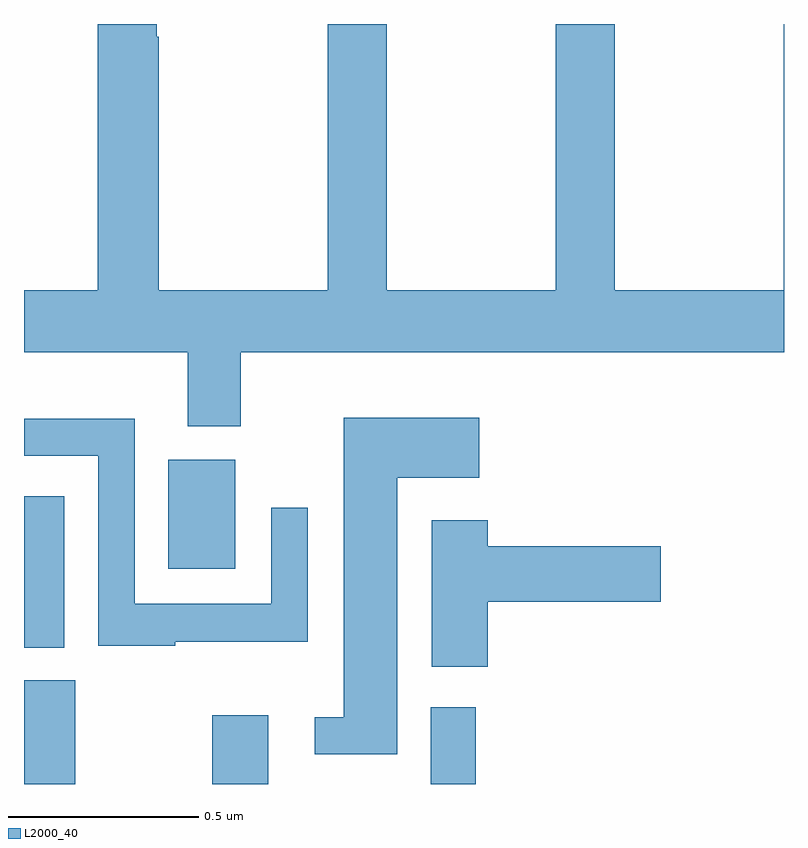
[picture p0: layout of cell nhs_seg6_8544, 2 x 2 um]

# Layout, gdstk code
import gdstk
lib = gdstk.Library(unit=1e-6, precision=1e-09)
def R(c, l, rs):  # rectangles x0, y0, x1, y1
    for r in rs: c.add(gdstk.rectangle(r[:2], r[2:], *l))
def P(c, l, *ps):  # polygons
    for p in ps: c.add(gdstk.Polygon(p, *l))
L2000_40 = (2000, 40)

nhs_seg6_8544 = lib.new_cell('nhs_seg6_8544')
R(nhs_seg6_8544, L2000_40, [(222,979.5,222.135,979.773), (222.496,979.5,222.643,979.681), (223.07,979.5,223.189,979.702), (222,979.858,222.106,980.257), (222.38,980.066,222.556,980.353)])
P(nhs_seg6_8544, L2000_40, [(222.571,980.636),(224,980.636),(224,981.5),(223.999,981.5),(223.999,980.8),(223.554,980.8),(223.554,981.5),(223.399,981.5),(223.399,980.8),(222.954,980.8),(222.954,981.5),(222.799,981.5),(222.799,980.8),(222.354,980.8),(222.354,981.467),(222.349,981.467),(222.349,981.5),(222.194,981.5),(222.194,980.8),(222,980.8),(222,980.636),(222.431,980.636),(222.431,980.442),(222.571,980.442)],
  [(222.982,980.306),(223.198,980.306),(223.198,980.464),(222.842,980.464),(222.842,979.676),(222.765,979.676),(222.765,979.578),(222.982,979.578)],
  [(222.398,979.874),(222.747,979.874),(222.747,980.227),(222.651,980.227),(222.651,979.975),(222.291,979.975),(222.291,980.461),(222,980.461),(222,980.364),(222.195,980.364),(222.195,979.864),(222.398,979.864)],
  [(223.22,979.979),(223.675,979.979),(223.675,980.126),(223.22,980.126),(223.22,980.194),(223.073,980.194),(223.073,979.809),(223.22,979.809)])

lib.write_gds('nhs_seg6_8544.gds')
